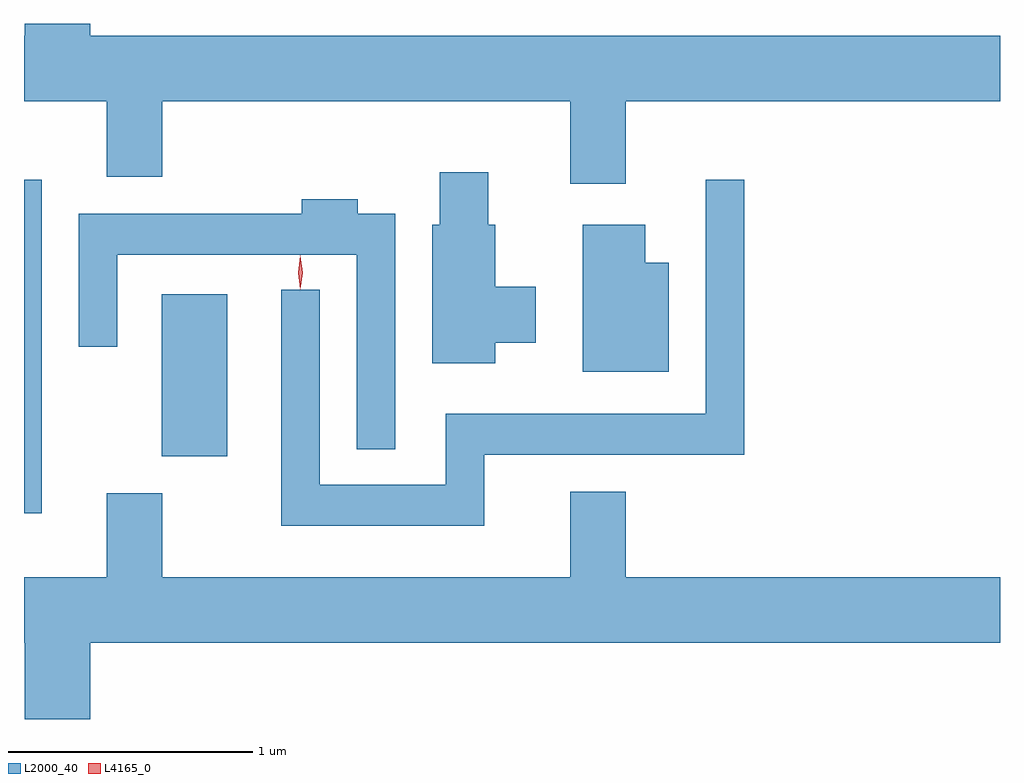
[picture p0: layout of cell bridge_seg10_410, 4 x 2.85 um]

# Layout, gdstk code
import gdstk
lib = gdstk.Library(unit=1e-6, precision=1e-09)
def R(c, l, rs):  # rectangles x0, y0, x1, y1
    for r in rs: c.add(gdstk.rectangle(r[:2], r[2:], *l))
def P(c, l, *ps):  # polygons
    for p in ps: c.add(gdstk.Polygon(p, *l))
L2000_40 = (2000, 40)
L4165_0 = (4165, 0)

bridge_seg10_410 = lib.new_cell('bridge_seg10_410')
R(bridge_seg10_410, L2000_40, [(1373.912,2083.366,1373.984,2084.733), (1374.476,2083.601,1374.744,2084.264)])
P(bridge_seg10_410, L2000_40, [(1376.379,2085.056),(1377.912,2085.056),(1377.912,2085.324),(1374.184,2085.324),(1374.184,2085.373),(1373.916,2085.373),(1373.916,2085.324),(1373.912,2085.324),(1373.912,2085.056),(1374.251,2085.056),(1374.251,2084.746),(1374.479,2084.746),(1374.479,2085.056),(1376.151,2085.056),(1376.151,2084.716),(1376.379,2084.716)],
  [(1375.844,2084.066),(1376.009,2084.066),(1376.009,2084.294),(1375.844,2084.294),(1375.844,2084.549),(1375.814,2084.549),(1375.814,2084.764),(1375.616,2084.764),(1375.616,2084.549),(1375.586,2084.549),(1375.586,2083.981),(1375.844,2083.981)],
  [(1375.799,2083.606),(1376.864,2083.606),(1376.864,2084.733),(1376.706,2084.733),(1376.706,2083.774),(1375.641,2083.774),(1375.641,2083.484),(1375.124,2083.484),(1375.124,2084.283),(1374.966,2084.283),(1374.966,2083.316),(1375.799,2083.316)],
  [(1375.434,2084.594),(1375.279,2084.594),(1375.279,2084.654),(1375.051,2084.654),(1375.051,2084.594),(1374.136,2084.594),(1374.136,2084.048),(1374.294,2084.048),(1374.294,2084.426),(1375.276,2084.426),(1375.276,2083.628),(1375.434,2083.628)],
  [(1376.554,2084.394),(1376.459,2084.394),(1376.459,2084.549),(1376.201,2084.549),(1376.201,2083.946),(1376.554,2083.946)],
  [(1374.184,2082.836),(1377.912,2082.836),(1377.912,2083.104),(1376.379,2083.104),(1376.379,2083.454),(1376.151,2083.454),(1376.151,2083.104),(1374.479,2083.104),(1374.479,2083.449),(1374.251,2083.449),(1374.251,2083.104),(1373.912,2083.104),(1373.912,2082.836),(1373.916,2082.836),(1373.916,2082.522),(1374.184,2082.522)])
P(bridge_seg10_410, L4165_0, [(1375.045,2084.283),(1375.044,2084.284),(1375.035,2084.353),(1375.044,2084.422),(1375.045,2084.423),(1375.045,2084.422),(1375.055,2084.353),(1375.045,2084.284)])

lib.write_gds('bridge_seg10_410.gds')
